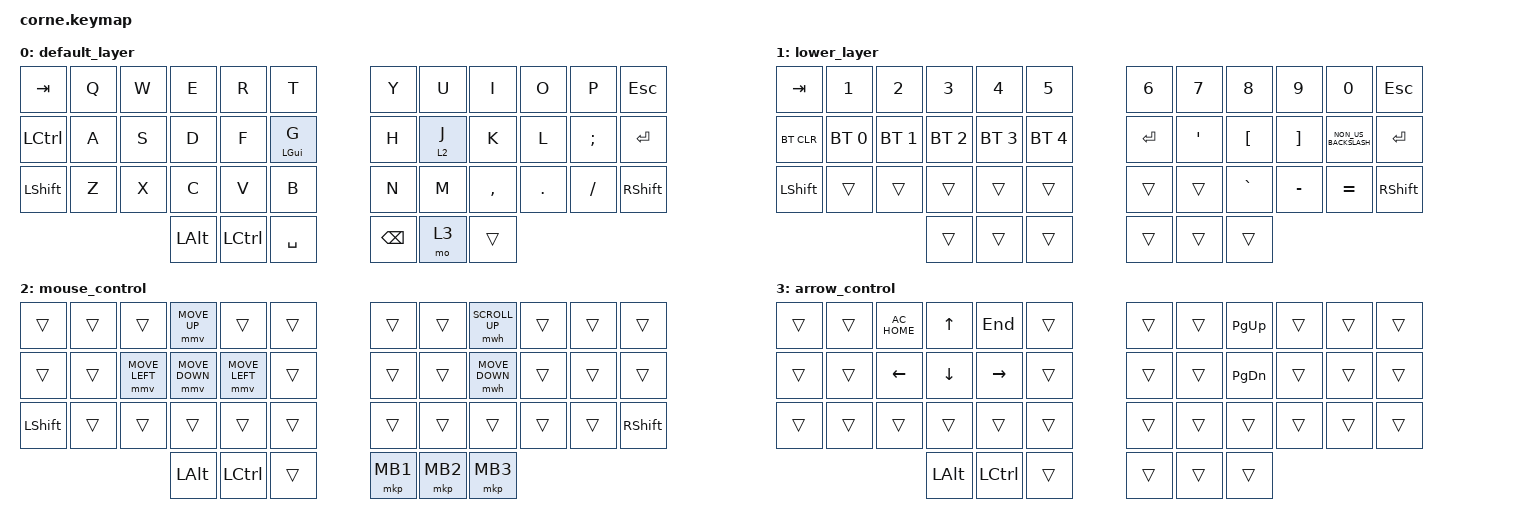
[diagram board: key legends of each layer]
/*
 * Copyright (c) 2020 The ZMK Contributors
 *
 * SPDX-License-Identifier: MIT
 */

#include <behaviors.dtsi>
#include <dt-bindings/zmk/bt.h>
#include <dt-bindings/zmk/keys.h>
#include <dt-bindings/zmk/mouse.h>

/ {
    keymap {
        compatible = "zmk,keymap";

        default_layer {
            // -----------------------------------------------------------------------------------------
            // |  TAB |  Q  |  W  |  E  |  R  |  T  |   |  Y  |  U   |  I  |  O  |  P  | BKSP |
            // | CTRL |  A  |  S  |  D  |  F  |  G  |   |  H  |  J   |  K  |  L  |  ;  |  '   |
            // | SHFT |  Z  |  X  |  C  |  V  |  B  |   |  N  |  M   |  ,  |  .  |  /  | ESC  |
            //                    | GUI | LWR | SPC |   | ENT | RSE  | ALT |

            bindings = <
&kp TAB    &kp Q  &kp W  &kp E         &kp R      &kp T             &kp Y          &kp U    &kp I      &kp O    &kp P     &kp ESC
&kp LCTRL  &kp A  &kp S  &kp D         &kp F      &mt LEFT_GUI G    &kp H          &lt 2 J  &kp K      &kp L    &kp SEMI  &kp ENTER
&kp LSHFT  &kp Z  &kp X  &kp C         &kp V      &kp B             &kp N          &kp M    &kp COMMA  &kp DOT  &kp FSLH  &kp RIGHT_SHIFT
                         &kp LEFT_ALT  &kp LCTRL  &kp SPACE         &kp BACKSPACE  &mo 3    &trans
            >;
        };

        lower_layer {
            // -----------------------------------------------------------------------------------------
            // |  TAB |  1  |  2  |  3  |  4  |  5  |   |  6  |  7  |  8  |  9  |  0  | BKSP |
            // | BTCLR| BT1 | BT2 | BT3 | BT4 | BT5 |   | LFT | DWN |  UP | RGT |     |      |
            // | SHFT |     |     |     |     |     |   |     |     |     |     |     |      |
            //                    | GUI |     | SPC |   | ENT |     | ALT |

            bindings = <
&kp TAB     &kp N1        &kp N2        &kp N3        &kp N4        &kp N5          &kp N6     &kp N7            &kp N8            &kp N9             &kp N0                &kp ESCAPE
&bt BT_CLR  &bt BT_SEL 0  &bt BT_SEL 1  &bt BT_SEL 2  &bt BT_SEL 3  &bt BT_SEL 4    &kp ENTER  &kp SINGLE_QUOTE  &kp LEFT_BRACKET  &kp RIGHT_BRACKET  &kp NON_US_BACKSLASH  &kp ENTER
&kp LSHFT   &trans        &trans        &trans        &trans        &trans          &trans     &trans            &kp GRAVE         &kp MINUS          &kp EQUAL             &kp RIGHT_SHIFT
                                        &trans        &trans        &trans          &trans     &trans            &trans
            >;
        };

        mouse_control {
            bindings = <
&trans          &trans  &trans          &mmv MOVE_UP    &trans          &trans    &trans    &trans    &mwh SCROLL_UP  &trans  &trans  &trans
&trans          &trans  &mmv MOVE_LEFT  &mmv MOVE_DOWN  &mmv MOVE_LEFT  &trans    &trans    &trans    &mwh MOVE_DOWN  &trans  &trans  &trans
&kp LEFT_SHIFT  &trans  &trans          &trans          &trans          &trans    &trans    &trans    &trans          &trans  &trans  &kp RIGHT_SHIFT
                                        &kp LEFT_ALT    &kp LCTRL       &trans    &mkp MB1  &mkp MB2  &mkp MB3
            >;
        };

        arrow_control {
            bindings = <
&trans  &trans  &kp C_AC_HOME   &kp UP_ARROW    &kp END          &trans    &trans  &trans  &kp PAGE_UP    &trans  &trans  &trans
&trans  &trans  &kp LEFT_ARROW  &kp DOWN_ARROW  &kp RIGHT_ARROW  &trans    &trans  &trans  &kp PAGE_DOWN  &trans  &trans  &trans
&trans  &trans  &trans          &trans          &trans           &trans    &trans  &trans  &trans         &trans  &trans  &trans
                                &kp LEFT_ALT    &kp LCTRL        &trans    &trans  &trans  &trans
            >;
        };
    };
};
